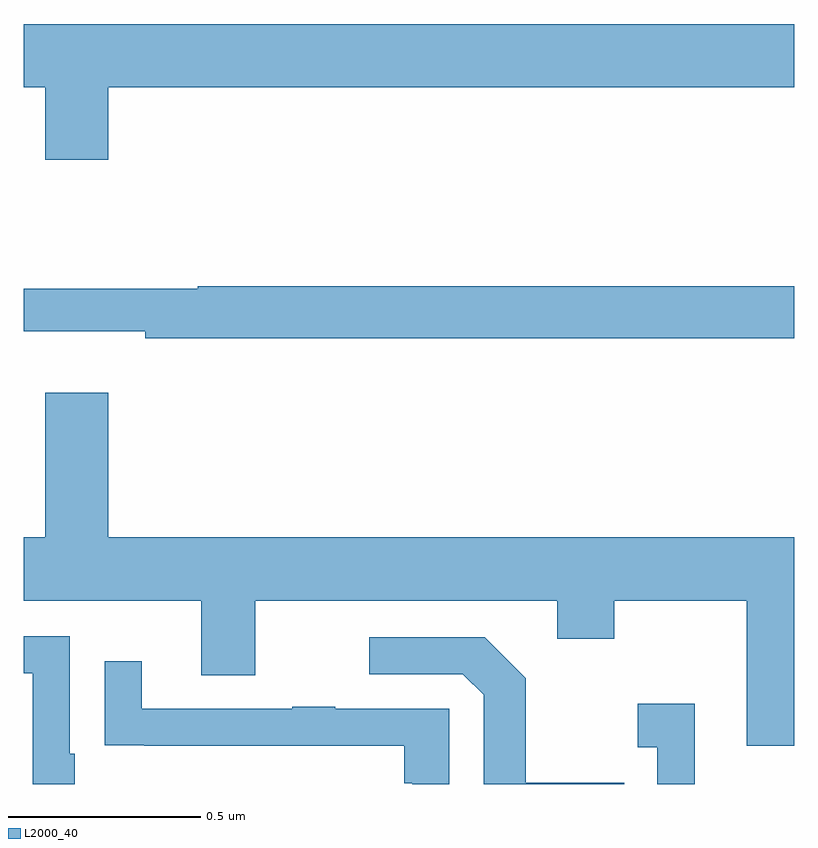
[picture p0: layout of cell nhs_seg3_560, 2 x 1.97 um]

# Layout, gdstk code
import gdstk
lib = gdstk.Library(unit=1e-6, precision=1e-09)
def P(c, l, *ps):  # polygons
    for p in ps: c.add(gdstk.Polygon(p, *l))
L2000_40 = (2000, 40)

nhs_seg3_560 = lib.new_cell('nhs_seg3_560')
P(nhs_seg3_560, L2000_40, [(117.22,742.208),(119,742.208),(119,742.372),(117,742.372),(117,742.208),(117.056,742.208),(117.056,742.02),(117.22,742.02)],
  [(119,741.692),(117.452,741.692),(117.452,741.685),(117,741.685),(117,741.575),(117.316,741.575),(117.316,741.556),(119,741.556)],
  [(119,741.04),(117.22,741.04),(117.22,741.415),(117.056,741.415),(117.056,741.04),(117,741.04),(117,740.876),(117.461,740.876),(117.461,740.682),(117.601,740.682),(117.601,740.876),(118.385,740.876),(118.385,740.777),(118.533,740.777),(118.533,740.876),(118.877,740.876),(118.877,740.499),(119,740.499)],
  [(117.133,740.479),(117.12,740.479),(117.12,740.784),(117,740.784),(117,740.688),(117.024,740.688),(117.024,740.4),(117.133,740.4)],
  [(118.559,740.403),(118.303,740.403),(118.303,740.675),(118.197,740.781),(117.897,740.781),(117.897,740.685),(118.14,740.685),(118.194,740.631),(118.194,740.4),(118.559,740.4)],
  [(118.104,740.595),(117.809,740.595),(117.809,740.6),(117.697,740.6),(117.697,740.595),(117.307,740.595),(117.307,740.719),(117.211,740.719),(117.211,740.5),(117.313,740.5),(117.313,740.499),(117.988,740.499),(117.988,740.402),(118.008,740.402),(118.008,740.4),(118.104,740.4)],
  [(118.741,740.608),(118.593,740.608),(118.593,740.495),(118.644,740.495),(118.644,740.4),(118.741,740.4)])

lib.write_gds('nhs_seg3_560.gds')
